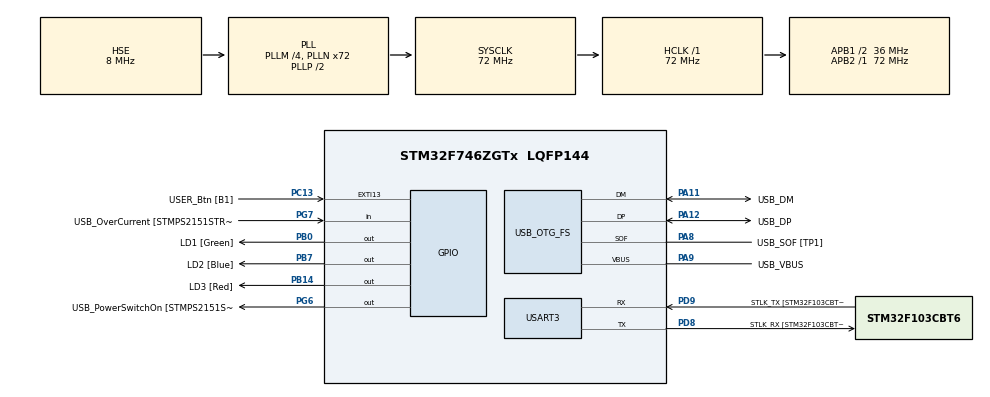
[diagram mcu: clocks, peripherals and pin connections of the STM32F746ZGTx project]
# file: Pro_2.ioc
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Mcu.Family=STM32F7
Mcu.Name=STM32F746ZGTx
Mcu.Package=LQFP144
NVIC.PriorityGroup=NVIC_PRIORITYGROUP_4
NVIC.USART3_IRQn=true\:0\:0\:false\:false\:true\:true\:true
PA1.GPIO_Label=RMII_REF_CLK [LAN8742A-CZ-TR_REFCLK0]
PA1.Signal=ETH_REF_CLK
PA10.GPIO_Label=USB_ID
PA10.Signal=USB_OTG_FS_ID
PA11.GPIO_Label=USB_DM
PA11.Mode=Device_Only
PA11.Signal=USB_OTG_FS_DM
PA12.GPIO_Label=USB_DP
PA12.Mode=Device_Only
PA12.Signal=USB_OTG_FS_DP
PA13.GPIO_Label=TMS
PA13.Mode=Serial_Wire
PA13.Signal=SYS_JTMS-SWDIO
PA14.GPIO_Label=TCK
PA14.Mode=Serial_Wire
PA14.Signal=SYS_JTCK-SWCLK
PA2.GPIO_Label=RMII_MDIO [LAN8742A-CZ-TR_MDIO]
PA2.Signal=ETH_MDIO
PA7.GPIO_Label=RMII_CRS_DV [LAN8742A-CZ-TR_CRS_DV]
PA7.Signal=ETH_CRS_DV
PA8.GPIO_Label=USB_SOF [TP1]
PA8.Mode=Activate_SOF_FS
PA8.Signal=USB_OTG_FS_SOF
PA9.GPIO_Label=USB_VBUS
PA9.Mode=Activate_VBUS
PA9.Signal=USB_OTG_FS_VBUS
PB0.GPIO_Label=LD1 [Green]
PB0.Signal=GPIO_Output
PB13.GPIO_Label=RMII_TXD1 [LAN8742A-CZ-TR_TXD1]
PB13.Signal=ETH_TXD1
PB14.GPIO_Label=LD3 [Red]
PB14.Signal=GPIO_Output
PB3.GPIO_Label=SW0
PB3.Signal=SYS_JTDO-SWO
PB7.GPIO_Label=LD2 [Blue]
PB7.Signal=GPIO_Output
PC1.GPIO_Label=RMII_MDC [LAN8742A-CZ-TR_MDC]
PC1.Signal=ETH_MDC
PC13.GPIO_Label=USER_Btn [B1]
PC13.Signal=GPXTI13
PC14/OSC32_IN.Mode=LSE-External-Oscillator
PC14/OSC32_IN.Signal=RCC_OSC32_IN
PC15/OSC32_OUT.Mode=LSE-External-Oscillator
PC15/OSC32_OUT.Signal=RCC_OSC32_OUT
PC4.GPIO_Label=RMII_RXD0 [LAN8742A-CZ-TR_RXD0]
PC4.Signal=ETH_RXD0
PC5.GPIO_Label=RMII_RXD1 [LAN8742A-CZ-TR_RXD1]
PC5.Signal=ETH_RXD1
PD8.GPIO_Label=STLK_RX [STM32F103CBT6_PA3]
PD8.Mode=Asynchronous
PD8.Signal=USART3_TX
PD9.GPIO_Label=STLK_TX [STM32F103CBT6_PA2]
PD9.Mode=Asynchronous
PD9.Signal=USART3_RX
PG11.GPIO_Label=RMII_TX_EN [LAN8742A-CZ-TR_TXEN]
PG11.Signal=ETH_TX_EN
PG13.GPIO_Label=RMII_TXD0 [LAN8742A-CZ-TR_TXD0]
PG13.Signal=ETH_TXD0
PG6.GPIO_Label=USB_PowerSwitchOn [STMPS2151STR_EN]
PG6.Signal=GPIO_Output
PG7.GPIO_Label=USB_OverCurrent [STMPS2151STR_FAULT]
PG7.Signal=GPIO_Input
PH0/OSC_IN.GPIO_Label=MCO [STM32F103CBT6_PA8]
PH0/OSC_IN.Mode=HSE-External-Clock-Source
PH0/OSC_IN.Signal=RCC_OSC_IN
PH1/OSC_OUT.Mode=HSE-External-Clock-Source
PH1/OSC_OUT.Signal=RCC_OSC_OUT
ProjectManager.HeapSize=0x200
ProjectManager.StackSize=0x400
ProjectManager.TargetToolchain=STM32CubeIDE
RCC.48MHZClocksFreq_Value=24000000
RCC.AHBFreq_Value=72000000
RCC.APB1CLKDivider=RCC_HCLK_DIV2
RCC.APB1Freq_Value=36000000
RCC.APB1TimFreq_Value=72000000
RCC.APB2Freq_Value=72000000
RCC.APB2TimFreq_Value=72000000
RCC.CortexFreq_Value=72000000
RCC.HCLKFreq_Value=72000000
RCC.HSE_VALUE=8000000
RCC.HSI_VALUE=16000000
RCC.PLLM=4
RCC.PLLMUL=RCC_PLL_MUL9
RCC.PLLN=72
RCC.PLLQ=3
RCC.PRESCALERUSB=RCC_USBCLKSOURCE_PLL_DIV1_5
RCC.SYSCLKFreq_VALUE=72000000
RCC.SYSCLKSource=RCC_SYSCLKSOURCE_PLLCLK
RCC.SYSCLKSourceVirtual=RCC_SYSCLKSOURCE_PLLCLK
RCC.USBFreq_Value=48000000
RCC.VCOOutputFreq_Value=144000000
USART3.VirtualMode-Asynchronous=VM_ASYNC
USB_OTG_FS.VirtualMode=Device_Only
board=NUCLEO-F746ZG

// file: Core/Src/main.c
/* USER CODE BEGIN Header */
/**
  ******************************************************************************
  * @file           : main.c
  * @brief          : Main program body
  ******************************************************************************
  * @attention
  *
  * <h2><center>&copy; Copyright (c) 2021 STMicroelectronics.
  * All rights reserved.</center></h2>
  *
  * This software component is licensed by ST under BSD 3-Clause license,
  * the "License"; You may not use this file except in compliance with the
  * License. You may obtain a copy of the License at:
  *                        opensource.org/licenses/BSD-3-Clause
  *
  ******************************************************************************
  */
/* USER CODE END Header */
#include "main.h"

/* USER CODE BEGIN PM */
#define COUNTOF(__BUFFER__)	(sizeof(__BUFFER__)/sizeof(*(__BUFFER__)))
/* USER CODE END PM */

UART_HandleTypeDef huart3;

PCD_HandleTypeDef hpcd_USB_OTG_FS;

/* USER CODE BEGIN PV */
uint8_t key[1];
/* USER CODE END PV */

void SystemClock_Config(void);
static void MX_GPIO_Init(void);
static void MX_USART3_UART_Init(void);
static void MX_USB_OTG_FS_PCD_Init(void);

/* USER CODE BEGIN 0 */
void HAL_UART_RxCpltCallback(UART_HandleTypeDef *huart)
{
		switch (key[0])
		{
			case 'q':
				HAL_GPIO_TogglePin(GPIOB, LD1_Pin);
				break;
			case 'a':
				HAL_GPIO_TogglePin(GPIOB, LD2_Pin);
				break;
			case 'z':
				HAL_GPIO_TogglePin(GPIOB, LD3_Pin);
				break;
		}
		HAL_UART_Receive_IT(&huart3, key, 1);

	//}
}
/* USER CODE END 0 */

int main(void)
{

  /* MCU Configuration--------------------------------------------------------*/

  /* Reset of all peripherals, Initializes the Flash interface and the Systick. */
  HAL_Init();

  /* Configure the system clock */
  SystemClock_Config();

  /* Initialize all configured peripherals */
  MX_GPIO_Init();
  MX_USART3_UART_Init();
  MX_USB_OTG_FS_PCD_Init();
  /* USER CODE BEGIN 2 */
//  char tekst[] = "      \n\r";
  HAL_UART_Receive_IT(&huart3, key, 1);
  /* USER CODE END 2 */

  /* Infinite loop */
  /* USER CODE BEGIN WHILE */
//  int it = 0;
  while (1)
  {
    /* USER CODE END WHILE */

    /* USER CODE BEGIN 3 */
//	  HAL_UART_RxHalfCpltCallback(&huart3);

	 // HAL_Delay(100);
  }
  /* USER CODE END 3 */
}

void SystemClock_Config(void)
{
  RCC_OscInitTypeDef RCC_OscInitStruct = {0};
  RCC_ClkInitTypeDef RCC_ClkInitStruct = {0};
  RCC_PeriphCLKInitTypeDef PeriphClkInitStruct = {0};

  /** Configure LSE Drive Capability
  */
  HAL_PWR_EnableBkUpAccess();
  /** Configure the main internal regulator output voltage
  */
  __HAL_RCC_PWR_CLK_ENABLE();
  __HAL_PWR_VOLTAGESCALING_CONFIG(PWR_REGULATOR_VOLTAGE_SCALE3);
  /** Initializes the RCC Oscillators according to the specified parameters
  * in the RCC_OscInitTypeDef structure.
  */
  RCC_OscInitStruct.OscillatorType = RCC_OSCILLATORTYPE_HSE;
  RCC_OscInitStruct.HSEState = RCC_HSE_BYPASS;
  RCC_OscInitStruct.PLL.PLLState = RCC_PLL_ON;
  RCC_OscInitStruct.PLL.PLLSource = RCC_PLLSOURCE_HSE;
  RCC_OscInitStruct.PLL.PLLM = 4;
  RCC_OscInitStruct.PLL.PLLN = 72;
  RCC_OscInitStruct.PLL.PLLP = RCC_PLLP_DIV2;
  RCC_OscInitStruct.PLL.PLLQ = 3;
  if (HAL_RCC_OscConfig(&RCC_OscInitStruct) != HAL_OK)
  {
    Error_Handler();
  }
  /** Initializes the CPU, AHB and APB buses clocks
  */
  RCC_ClkInitStruct.ClockType = RCC_CLOCKTYPE_HCLK|RCC_CLOCKTYPE_SYSCLK
                              |RCC_CLOCKTYPE_PCLK1|RCC_CLOCKTYPE_PCLK2;
  RCC_ClkInitStruct.SYSCLKSource = RCC_SYSCLKSOURCE_PLLCLK;
  RCC_ClkInitStruct.AHBCLKDivider = RCC_SYSCLK_DIV1;
  RCC_ClkInitStruct.APB1CLKDivider = RCC_HCLK_DIV2;
  RCC_ClkInitStruct.APB2CLKDivider = RCC_HCLK_DIV1;

  if (HAL_RCC_ClockConfig(&RCC_ClkInitStruct, FLASH_LATENCY_2) != HAL_OK)
  {
    Error_Handler();
  }
  PeriphClkInitStruct.PeriphClockSelection = RCC_PERIPHCLK_USART3|RCC_PERIPHCLK_CLK48;
  PeriphClkInitStruct.Usart3ClockSelection = RCC_USART3CLKSOURCE_PCLK1;
  PeriphClkInitStruct.Clk48ClockSelection = RCC_CLK48SOURCE_PLL;
  if (HAL_RCCEx_PeriphCLKConfig(&PeriphClkInitStruct) != HAL_OK)
  {
    Error_Handler();
  }
}

static void MX_USART3_UART_Init(void)
{

  huart3.Instance = USART3;
  huart3.Init.BaudRate = 115200;
  huart3.Init.WordLength = UART_WORDLENGTH_8B;
  huart3.Init.StopBits = UART_STOPBITS_1;
  huart3.Init.Parity = UART_PARITY_NONE;
  huart3.Init.Mode = UART_MODE_TX_RX;
  huart3.Init.HwFlowCtl = UART_HWCONTROL_NONE;
  huart3.Init.OverSampling = UART_OVERSAMPLING_16;
  huart3.Init.OneBitSampling = UART_ONE_BIT_SAMPLE_DISABLE;
  huart3.AdvancedInit.AdvFeatureInit = UART_ADVFEATURE_NO_INIT;
  if (HAL_UART_Init(&huart3) != HAL_OK)
  {
    Error_Handler();
  }

}

static void MX_USB_OTG_FS_PCD_Init(void)
{

  hpcd_USB_OTG_FS.Instance = USB_OTG_FS;
  hpcd_USB_OTG_FS.Init.dev_endpoints = 6;
  hpcd_USB_OTG_FS.Init.speed = PCD_SPEED_FULL;
  hpcd_USB_OTG_FS.Init.dma_enable = DISABLE;
  hpcd_USB_OTG_FS.Init.phy_itface = PCD_PHY_EMBEDDED;
  hpcd_USB_OTG_FS.Init.Sof_enable = ENABLE;
  hpcd_USB_OTG_FS.Init.low_power_enable = DISABLE;
  hpcd_USB_OTG_FS.Init.lpm_enable = DISABLE;
  hpcd_USB_OTG_FS.Init.vbus_sensing_enable = ENABLE;
  hpcd_USB_OTG_FS.Init.use_dedicated_ep1 = DISABLE;
  if (HAL_PCD_Init(&hpcd_USB_OTG_FS) != HAL_OK)
  {
    Error_Handler();
  }

}

static void MX_GPIO_Init(void)
{
  GPIO_InitTypeDef GPIO_InitStruct = {0};

  /* GPIO Ports Clock Enable */
  __HAL_RCC_GPIOC_CLK_ENABLE();
  __HAL_RCC_GPIOH_CLK_ENABLE();
  __HAL_RCC_GPIOA_CLK_ENABLE();
  __HAL_RCC_GPIOB_CLK_ENABLE();
  __HAL_RCC_GPIOD_CLK_ENABLE();
  __HAL_RCC_GPIOG_CLK_ENABLE();

  /*Configure GPIO pin Output Level */
  HAL_GPIO_WritePin(GPIOB, LD1_Pin|LD3_Pin|LD2_Pin, GPIO_PIN_RESET);

  /*Configure GPIO pin Output Level */
  HAL_GPIO_WritePin(USB_PowerSwitchOn_GPIO_Port, USB_PowerSwitchOn_Pin, GPIO_PIN_RESET);

  /*Configure GPIO pin : USER_Btn_Pin */
  GPIO_InitStruct.Pin = USER_Btn_Pin;
  GPIO_InitStruct.Mode = GPIO_MODE_IT_RISING;
  GPIO_InitStruct.Pull = GPIO_NOPULL;
  HAL_GPIO_Init(USER_Btn_GPIO_Port, &GPIO_InitStruct);

  /*Configure GPIO pins : RMII_MDC_Pin RMII_RXD0_Pin RMII_RXD1_Pin */
  GPIO_InitStruct.Pin = RMII_MDC_Pin|RMII_RXD0_Pin|RMII_RXD1_Pin;
  GPIO_InitStruct.Mode = GPIO_MODE_AF_PP;
  GPIO_InitStruct.Pull = GPIO_NOPULL;
  GPIO_InitStruct.Speed = GPIO_SPEED_FREQ_VERY_HIGH;
  GPIO_InitStruct.Alternate = GPIO_AF11_ETH;
  HAL_GPIO_Init(GPIOC, &GPIO_InitStruct);

  /*Configure GPIO pins : RMII_REF_CLK_Pin RMII_MDIO_Pin RMII_CRS_DV_Pin */
  GPIO_InitStruct.Pin = RMII_REF_CLK_Pin|RMII_MDIO_Pin|RMII_CRS_DV_Pin;
  GPIO_InitStruct.Mode = GPIO_MODE_AF_PP;
  GPIO_InitStruct.Pull = GPIO_NOPULL;
  GPIO_InitStruct.Speed = GPIO_SPEED_FREQ_VERY_HIGH;
  GPIO_InitStruct.Alternate = GPIO_AF11_ETH;
  HAL_GPIO_Init(GPIOA, &GPIO_InitStruct);

  /*Configure GPIO pins : LD1_Pin LD3_Pin LD2_Pin */
  GPIO_InitStruct.Pin = LD1_Pin|LD3_Pin|LD2_Pin;
  GPIO_InitStruct.Mode = GPIO_MODE_OUTPUT_PP;
  GPIO_InitStruct.Pull = GPIO_NOPULL;
  GPIO_InitStruct.Speed = GPIO_SPEED_FREQ_LOW;
  HAL_GPIO_Init(GPIOB, &GPIO_InitStruct);

  /*Configure GPIO pin : RMII_TXD1_Pin */
  GPIO_InitStruct.Pin = RMII_TXD1_Pin;
  GPIO_InitStruct.Mode = GPIO_MODE_AF_PP;
  GPIO_InitStruct.Pull = GPIO_NOPULL;
  GPIO_InitStruct.Speed = GPIO_SPEED_FREQ_VERY_HIGH;
  GPIO_InitStruct.Alternate = GPIO_AF11_ETH;
  HAL_GPIO_Init(RMII_TXD1_GPIO_Port, &GPIO_InitStruct);

  /*Configure GPIO pin : USB_PowerSwitchOn_Pin */
  GPIO_InitStruct.Pin = USB_PowerSwitchOn_Pin;
  GPIO_InitStruct.Mode = GPIO_MODE_OUTPUT_PP;
  GPIO_InitStruct.Pull = GPIO_NOPULL;
  GPIO_InitStruct.Speed = GPIO_SPEED_FREQ_LOW;
  HAL_GPIO_Init(USB_PowerSwitchOn_GPIO_Port, &GPIO_InitStruct);

  /*Configure GPIO pin : USB_OverCurrent_Pin */
  GPIO_InitStruct.Pin = USB_OverCurrent_Pin;
  GPIO_InitStruct.Mode = GPIO_MODE_INPUT;
  GPIO_InitStruct.Pull = GPIO_NOPULL;
  HAL_GPIO_Init(USB_OverCurrent_GPIO_Port, &GPIO_InitStruct);

  /*Configure GPIO pins : RMII_TX_EN_Pin RMII_TXD0_Pin */
  GPIO_InitStruct.Pin = RMII_TX_EN_Pin|RMII_TXD0_Pin;
  GPIO_InitStruct.Mode = GPIO_MODE_AF_PP;
  GPIO_InitStruct.Pull = GPIO_NOPULL;
  GPIO_InitStruct.Speed = GPIO_SPEED_FREQ_VERY_HIGH;
  GPIO_InitStruct.Alternate = GPIO_AF11_ETH;
  HAL_GPIO_Init(GPIOG, &GPIO_InitStruct);

}

void Error_Handler(void)
{
  __disable_irq();
  while (1)
  {
  }
}

/************************ (C) COPYRIGHT STMicroelectronics *****END OF FILE****/
